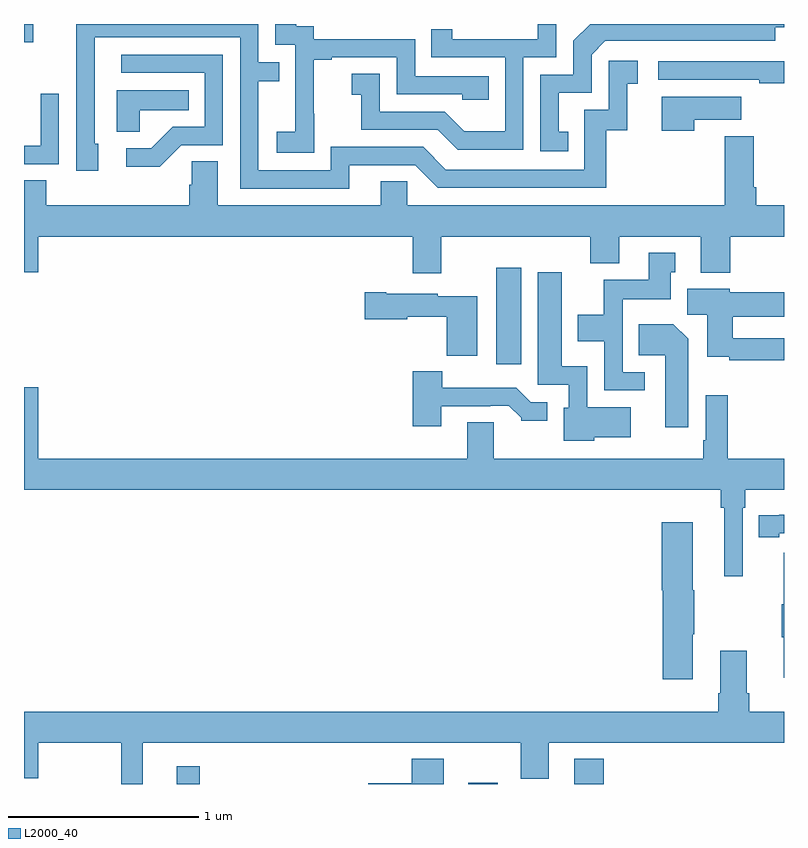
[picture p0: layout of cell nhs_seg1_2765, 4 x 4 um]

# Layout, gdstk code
import gdstk
lib = gdstk.Library(unit=1e-6, precision=1e-09)
def R(c, l, rs):  # rectangles x0, y0, x1, y1
    for r in rs: c.add(gdstk.rectangle(r[:2], r[2:], *l))
def P(c, l, *ps):  # polygons
    for p in ps: c.add(gdstk.Polygon(p, *l))
L2000_40 = (2000, 40)

nhs_seg1_2765 = lib.new_cell('nhs_seg1_2765')
R(nhs_seg1_2765, L2000_40, [(261.803,534.199,261.925,534.292), (263.337,534.199,263.493,534.205), (263.897,534.199,264.05,534.331), (263.486,536.409,263.617,536.917), (261,538.103,261.049,538.199)])
P(nhs_seg1_2765, L2000_40, [(262.711,537.456),(263.058,537.456),(263.178,537.336),(264.065,537.336),(264.065,537.639),(264.176,537.639),(264.176,537.885),(264.229,537.885),(264.229,538.006),(264.078,538.006),(264.078,537.747),(263.949,537.747),(263.949,537.432),(263.22,537.432),(263.1,537.552),(262.614,537.552),(262.614,537.429),(262.233,537.429),(262.233,537.898),(262.343,537.898),(262.343,537.999),(262.233,537.999),(262.233,538.199),(261.274,538.199),(261.274,537.919),(261.276,537.919),(261.276,537.426),(261.391,537.426),(261.391,537.57),(261.372,537.57),(261.372,538.128),(262.137,538.128),(262.137,537.333),(262.711,537.333)],
  [(263.864,537.633),(263.815,537.633),(263.815,537.837),(263.988,537.837),(263.988,538.038),(264.06,538.11),(264.954,538.11),(264.954,538.182),(265,538.182),(265,538.199),(263.981,538.199),(263.892,538.11),(263.892,537.933),(263.718,537.933),(263.718,537.528),(263.864,537.528)],
  [(263.628,538.023),(263.802,538.023),(263.802,538.199),(263.705,538.199),(263.705,538.119),(263.254,538.119),(263.254,538.171),(263.143,538.171),(263.143,538.023),(263.532,538.023),(263.532,537.634),(263.318,537.634),(263.214,537.738),(262.872,537.738),(262.872,537.937),(262.725,537.937),(262.725,537.827),(262.774,537.827),(262.774,537.642),(263.177,537.642),(263.282,537.537),(263.628,537.537)],
  [(262.527,537.727),(262.526,537.727),(262.526,538.011),(262.621,538.011),(262.621,538.023),(262.962,538.023),(262.962,537.828),(263.307,537.828),(263.307,537.801),(263.447,537.801),(263.447,537.924),(263.058,537.924),(263.058,538.119),(262.524,538.119),(262.524,538.188),(262.432,538.188),(262.432,538.199),(262.323,538.199),(262.323,538.089),(262.428,538.089),(262.428,537.86),(262.427,537.86),(262.427,537.631),(262.329,537.631),(262.329,537.521),(262.527,537.521)],
  [(261.828,537.561),(262.047,537.561),(262.047,538.038),(261.513,538.038),(261.513,537.942),(261.951,537.942),(261.951,537.657),(261.782,537.657),(261.671,537.546),(261.537,537.546),(261.537,537.449),(261.715,537.449)],
  [(265,538.002),(264.339,538.002),(264.339,537.906),(264.871,537.906),(264.871,537.886),(265,537.886)],
  [(261.609,537.746),(261.866,537.746),(261.866,537.85),(261.488,537.85),(261.488,537.631),(261.609,537.631)],
  [(261.183,537.832),(261.087,537.832),(261.087,537.558),(261,537.558),(261,537.462),(261.183,537.462)],
  [(264.527,537.695),(264.775,537.695),(264.775,537.817),(264.356,537.817),(264.356,537.636),(264.527,537.636)],
  [(263.197,537.08),(263.981,537.08),(263.981,536.939),(264.133,536.939),(264.133,537.08),(264.563,537.08),(264.563,536.891),(264.716,536.891),(264.716,537.08),(265,537.08),(265,537.244),(264.854,537.244),(264.854,537.34),(264.841,537.34),(264.841,537.607),(264.689,537.607),(264.689,537.244),(263.016,537.244),(263.016,537.371),(262.877,537.371),(262.877,537.244),(262.021,537.244),(262.021,537.476),(261.882,537.476),(261.882,537.353),(261.869,537.353),(261.869,537.244),(261.116,537.244),(261.116,537.377),(261,537.377),(261,536.892),(261.076,536.892),(261.076,537.08),(263.045,537.08),(263.045,536.886),(263.197,536.886)],
  [(264.268,536.367),(264.15,536.367),(264.15,536.75),(264.403,536.75),(264.403,536.892),(264.427,536.892),(264.427,536.995),(264.287,536.995),(264.287,536.854),(264.052,536.854),(264.052,536.668),(263.915,536.668),(263.915,536.528),(264.054,536.528),(264.054,536.271),(264.268,536.271)],
  [(264,536.024),(264.193,536.024),(264.193,536.182),(263.964,536.182),(263.964,536.398),(263.83,536.398),(263.83,536.893),(263.705,536.893),(263.705,536.301),(263.868,536.301),(263.868,536.178),(263.84,536.178),(263.84,536.006),(264,536.006)],
  [(265,536.544),(264.731,536.544),(264.731,536.657),(265,536.657),(265,536.787),(264.714,536.787),(264.714,536.806),(264.491,536.806),(264.491,536.668),(264.596,536.668),(264.596,536.447),(264.712,536.447),(264.712,536.428),(265,536.428)],
  [(263.386,536.767),(263.178,536.767),(263.178,536.779),(262.906,536.779),(262.906,536.787),(262.794,536.787),(262.794,536.645),(263.016,536.645),(263.016,536.657),(263.224,536.657),(263.224,536.453),(263.386,536.453)],
  [(264.496,536.542),(264.418,536.62),(264.235,536.62),(264.235,536.456),(264.374,536.456),(264.374,536.076),(264.496,536.076)],
  [(263.197,536.187),(263.453,536.187),(263.453,536.19),(263.552,536.19),(263.616,536.126),(263.616,536.111),(263.755,536.111),(263.755,536.208),(263.667,536.208),(263.591,536.284),(263.2,536.284),(263.2,536.371),(263.045,536.371),(263.045,536.082),(263.197,536.082)],
  [(264.783,535.652),(264.797,535.652),(264.797,535.748),(265,535.748),(265,535.912),(264.704,535.912),(264.704,536.245),(264.588,536.245),(264.588,536.008),(264.576,536.008),(264.576,535.912),(263.473,535.912),(263.473,536.102),(263.333,536.102),(263.333,535.912),(261.076,535.912),(261.076,536.287),(261,536.287),(261,535.748),(264.667,535.748),(264.667,535.652),(264.686,535.652),(264.686,535.293),(264.783,535.293)],
  [(264.976,535.518),(265,535.518),(265,535.615),(264.976,535.615),(264.976,535.614),(264.868,535.614),(264.868,535.498),(264.976,535.498)],
  [(264.52,534.988),(264.528,534.988),(264.528,535.218),(264.52,535.218),(264.52,535.576),(264.356,535.576),(264.356,535.218),(264.362,535.218),(264.362,534.75),(264.52,534.75)],
  [(265,535.417),(264.998,535.417),(264.998,535.145),(264.987,535.145),(264.987,534.971),(264.998,534.971),(264.998,534.759),(265,534.759)],
  [(261.625,534.416),(263.614,534.416),(263.614,534.226),(263.761,534.226),(263.761,534.416),(265,534.416),(265,534.58),(264.818,534.58),(264.818,534.676),(264.805,534.676),(264.805,534.901),(264.665,534.901),(264.665,534.676),(264.653,534.676),(264.653,534.58),(261,534.58),(261,534.228),(261.076,534.228),(261.076,534.416),(261.511,534.416),(261.511,534.199),(261.625,534.199)],
  [(263.209,534.331),(263.042,534.331),(263.042,534.202),(262.812,534.202),(262.812,534.199),(263.209,534.199)])

lib.write_gds('nhs_seg1_2765.gds')
